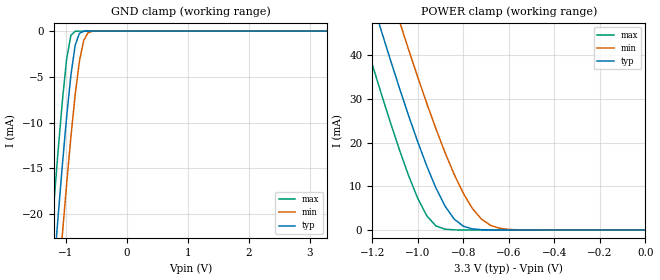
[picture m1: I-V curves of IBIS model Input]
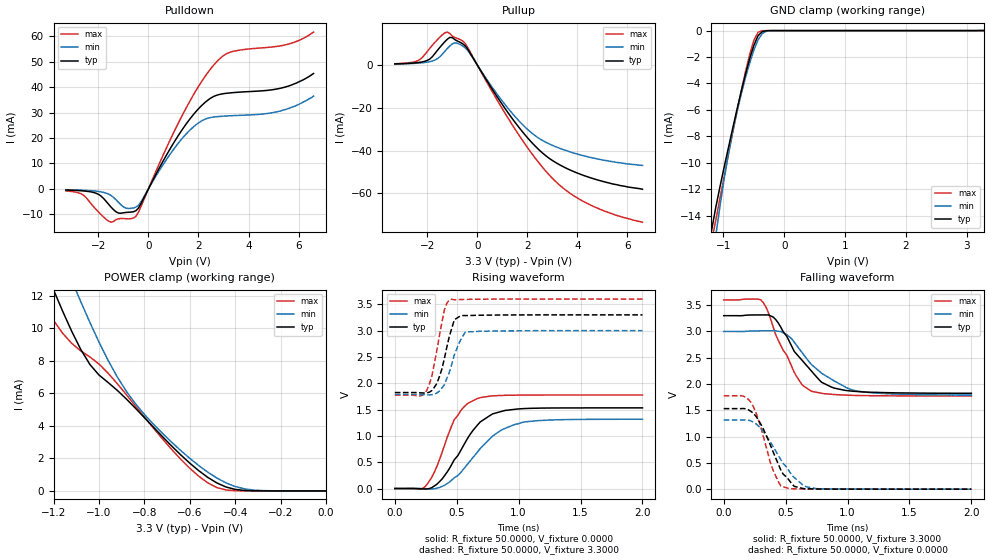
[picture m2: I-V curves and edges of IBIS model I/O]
| IBIS file w9825g6kh_0~70c.ibs
| Winbond W9825G6KH 16M*16 256M bits SDRAM IBIS model
| This model applicable for -5/-6/-6L/-75/75L grades
| Part Number   Organization   Package   VDD/VDDQ   TOPR
| W9825G6KH-5   16M*16   TSOP II 54-Pin   3.3V +/-0.3V   0~70C
| W9825G6KH-6   16M*16   TSOP II 54-Pin   3.3V +/-0.3V   0~70C
| W9825G6KH-6L   16M*16   TSOP II 54-Pin   3.3V +/-0.3V   0~70C
| W9825G6KH-75   16M*16   TSOP II 54-Pin   3.3V +/-0.3V   0~70C
| W9825G6KH75L   16M*16   TSOP II 54-Pin   3.3V +/-0.3V   0~70C
| TOPR: Operating Temperature
[IBIS ver]   3.2
[File name]  w9825g6kh_0~70c.ibs
[File Rev]   0.1
[Date]   Jul. 22, 2014
[Source]   Simulation of a silicon level SPICE model
[Notes]   IBIS Characteristics for I/O Buffer
   IBIS Model Revision History:
   Rev 0.1: Jul. 22, 2014
   - IBIS model file initial creation
[Disclaimer] This model software code and all related notes or documentation
             (collectively "Software") is provided "AS IS" without warranty of
             any kind. You bear the risk of using it.
             Winbond Electronics Corp.("WINBOND") hereunder
             DISCLAIMS ALL WARRANTIES EXPRESS OR IMPLIED, INCLUDING BUT NOT
             LIMITED TO,NONINFRINGEMENT OF THIRD PARTY RIGHTS, AND ANY IMPLIED
             WARRANTIES OF MERCHANTABILITY OR FITNESS FOR ANY PARTICULAR
             PURPOSE.WINBOND DOES NOT WARRANT THAT THE OPERATION OF THE
             SOFTWARE WILL BE UNINTERRUPTED OR ERROR-FREE. FURTHERMORE,
             WINBOND DOES NOT MAKE ANY WARRANTIES REGARDING THE USE OR
             THE RESULTS OF THE USE OF THE SOFTWARE IN TERMS OF ITS
             CORRECTNESS,ACCURACY, RELIABILITY, OR OTHERWISE. IN NO EVENT SHALL
             WINBOND, ITS SUBSIDIARY COMPANIES OR THEIR SUPPLIERS BE LIABLE
             FOR ANY DIRECT, INDIRECT, CONSEQUENTIAL, INCIDENTAL, OR SPECIAL
             DAMAGES (INCLUDING, WITHOUT LIMITATION, DAMAGES FOR LOSS OF
             PROFITS,BUSINESS INTERRUPTION, OR LOSS OF INFORMATION) ARISING OUT
             OF YOUR USE OF OR INABILITY TO USE THE SOFTWARE, EVEN IF WINBOND
             HAS BEEN ADVISED OF THE POSSIBILITY OF SUCH DAMAGES.
[Copyright]  Copyright (C) 2014 Winbond Electronics Corp. All rights reserved
|   Component W9825G6KH
[Component]   W9825G6KH
[Manufacturer] Winbond Electronics Corp.
| All pins excluding NC, POWER and GND (R[Ohm], L[H], C[F])
[Package]   | TSOP II 54-Pin
| variable   typ   min   max
R_pkg   629.144m   423.110m   929.160m
L_pkg   6.520n   4.165n   9.460n
C_pkg   0.932p   0.493p   1.491p
[Pin]  signal_name   model_name   R_pin   L_pin   C_pin
1   VDD   POWER   NA   NA   NA
2   DQ0   I/O   929.160m   9.460n   1.476p
3   VDDQ   POWER   NA   NA   NA
4   DQ1   I/O   814.680m   8.450n   1.271p
5   DQ2   I/O   750.840m   7.906n   1.159p
6   VSSQ   GND   NA   NA   NA
7   DQ3   I/O   617.360m   6.805n   0.901p
8   DQ4   I/O   540.680m   6.142n   0.765p
9   VDDQ   POWER   NA   NA   NA
10   DQ5   I/O   492.610m   5.365n   0.642p
11   DQ6   I/O   471.220m   5.051n   0.614p
12   VSSQ   GND   NA   NA   NA
13   DQ7   I/O   445.520m   4.435n   0.598p
14   VDD   POWER   NA   NA   NA
15   LDQM   Input   443.000m   4.165n   0.607p
16   /WE   Input   445.970m   4.501n   0.596p
17   /CAS   Input   454.700m   4.761n   0.603p
18   /RAS   Input   465.610m   5.049n   0.606p
19   /CS   Input   469.910m   5.368n   0.652p
20   BS0   Input   529.490m   5.991n   0.735p
21   BS1   Input   615.100m   6.662n   0.899p
22   A10/AP   Input   687.070m   7.224n   1.058p
23   A0   Input   748.680m   7.777n   1.162p
24   A1   Input   811.970m   8.346n   1.269p
25   A2   Input   872.720m   8.868n   1.395p
26   A3   Input   925.530m   9.325n   1.478p
27   VDD   POWER   NA   NA   NA
28   VSS   GND   NA   NA   NA
29   A4   Input   916.240m   8.252n   1.447p
30   A5   Input   923.200m   8.310n   1.491p
31   A6   Input   853.010m   8.061n   1.346p
32   A7   Input   770.700m   7.654n   1.223p
33   A8   Input   690.820m   7.167n   1.065p
34   A9   Input   593.070m   6.518n   0.898p
35   A11   Input   514.890m   5.841n   0.749p
36   A12   Input   454.170m   5.184n   0.679p
37   CKE   Input   444.820m   4.886n   0.630p
38   CLK   Input   431.850m   4.604n   0.583p
39   UDQM   Input   423.110m   4.255n   0.493p
40   NC   NC   NA   NA   NA
41   VSS   GND   NA   NA   NA
42   DQ8   I/O   442.840m   4.478n   0.561p
43   VDDQ   POWER   NA   NA   NA
44   DQ9   I/O   445.340m   5.021n   0.561p
45   DQ10   I/O   470.040m   5.335n   0.596p
46   VSSQ   GND   NA   NA   NA
47   DQ11   I/O   519.910m   6.097n   0.746p
48   DQ12   I/O   588.090m   6.703n   0.876p
49   VDDQ   POWER   NA   NA   NA
50   DQ13   I/O   771.860m   7.808n   1.192p
51   DQ14   I/O   841.280m   8.164n   1.317p
52   VSSQ   GND   NA   NA   NA
53   DQ15   I/O   913.570m   8.305n   1.417p
54   VSS   GND   NA   NA   NA
| Models and submodels in the file (2): Input (Input), I/O (I/O)
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|   Model Input
[Model]   Input
Model_type Input
Vinl =   0.8000V
Vinh =   2.0000V
| variable   typ   min   max
C_comp   1.3750pF   0.9950pF   1.7450pF
| Junction Temperature (Ambient temperature is typ 25C, min 70C, max 0C)
| variable   typ   min   max
[Temperature Range]   40.0000   85.0000   0.0
[Voltage Range]   3.3000V   3.0000V   3.6000V
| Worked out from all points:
|   GND clamp passes 1 mA (typ) near -0.82 V on its own axis
|   POWER clamp passes 1 mA (typ) near -0.80 V on its own axis
[GND_clamp]
|Voltage   I(typ)   I(min)   I(max)
-3.3V     -224.8mA   -231.1mA   -219.2mA
-1.27V    -32.26mA   -39.98mA   -25.08mA
-1.2V     -26.19mA   -33.92mA   -18.98mA
-1.13V    -20.29mA   -28mA      -13.11mA
-1.06V    -14.64mA   -22.25mA   -7.65mA
-990mV    -9.374mA   -16.73mA   -3.054mA
-920mV    -4.804mA   -11.57mA   -462.5uA
-850mV    -1.554mA   -6.966mA   -21.25uA
-780mV    -236.7uA   -3.276mA   -714.5nA
-710mV    -21.67uA   -1.013mA   -23.22nA
-570mV    -136.2nA   -28.44uA   -33.16pA
3.28V     3.24pA     13.01nA    2.64pA
[POWER_clamp]
|Voltage   I(typ)   I(min)   I(max)
-3.28V    445.6mA    458.3mA    434.6mA
-1.28V    66.28mA    81.7mA     51.94mA
-1.24V    59.29mA    74.73mA    44.89mA
-1.16V    45.59mA    61.04mA    31.18mA
-1.08V    32.44mA    47.74mA    18.3mA
-1.04V    26.17mA    41.28mA    12.43mA
-1V       20.19mA    35.01mA    7.248mA
-920mV    9.608mA    23.15mA    925uA
-840mV    2.494mA    12.74mA    26.33uA
-720mV    61.77uA    2.472mA    75.79nA
-600mV    812.7nA    131.7uA    216.5pA
0V        3.3pA      4.892pA    3.6pA
|   Model I/O
[Model]   I/O
Model_type I/O
Polarity   Non-Inverting
Enable   Active-High
Vinl =   0.8000V
Vinh =   2.0000V
Vmeas =   1.4000V
Cref =   30.0000pF
Rref =   50.0000
| variable   typ   min   max
C_comp   2.9950pF   2.4950pF   3.4950pF
| Junction Temperature (Ambient temperature is typ 25C, min 70C, max 0C)
| variable   typ   min   max
[Temperature Range]   40.0000   85.0000   0.0
[Voltage Range]   3.3000V   3.0000V   3.6000V
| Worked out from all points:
|   slope of the pulldown table from 0 to 0.495 V, typ, clamps not added: 53.2 ohm
|   slope of the pullup table from 0 to 0.495 V, typ, clamps not added: 52.4 ohm
|   GND clamp passes 1 mA (typ) near -0.49 V on its own axis
|   POWER clamp passes 1 mA (typ) near -0.54 V on its own axis
|   rising waveform, R_fixture 50.0000, V_fixture 0.0000: 20-80 % time 255ps typ, 308ps min, 190ps max; typ from 0 V to 1.53 V
|   rising waveform, R_fixture 50.0000, V_fixture 3.3000: 20-80 % time 96.1ps typ, 109ps min, 87.9ps max; typ from 1.82 V to 3.3 V
|   falling waveform, R_fixture 50.0000, V_fixture 3.3000: 20-80 % time 278ps typ, 332ps min, 212ps max; typ from 3.3 V to 1.82 V
|   falling waveform, R_fixture 50.0000, V_fixture 0.0000: 20-80 % time 173ps typ, 218ps min, 134ps max; typ from 1.53 V to 0 V
[Pulldown]
|Voltage   I(typ)   I(min)   I(max)
-3.3V     -490uA     -360uA     -830uA
-2.6V     -850uA     -570uA     -2.51mA
-2.1V     -1.73mA    -920uA     -8.07mA
-1.5V     -7.16mA    -2.61mA    -13.15mA
-600mV    -9.046mA   -7.534mA   -11.51mA
-400mV    -7.599mA   -6.494mA   -9.245mA
1.5V      25.41mA    21.52mA    31.7mA
2.2V      33.47mA    27.12mA    43.34mA
2.8V      37.05mA    28.45mA    50.75mA
3.4V      37.88mA    28.82mA    54.14mA
5.1V      39.24mA    30.24mA    56.02mA
6.6V      45.39mA    36.5mA     61.7mA
[Pullup]
|Voltage   I(typ)   I(min)   I(max)
-3.3V     560uA      500uA      650uA
-2.3V     1.3mA      990uA      2.61mA
-1.9V     2.86mA     1.62mA     7.88mA
-1.3V     10.95mA    6.44mA     15.1mA
-1.1V     12.97mA    8.97mA     14.77mA
-900mV    11.92mA    10.42mA    12.91mA
-600mV    10.09mA    9.052mA    11.4mA
1.6V      -28.17mA   -25.29mA   -31.62mA
2.3V      -37.71mA   -32.9mA    -43.27mA
3V        -44.59mA   -37.5mA    -52.91mA
4.5V      -52.58mA   -43.1mA    -65.28mA
6.6V      -58.04mA   -46.9mA    -73.43mA
[GND_clamp]
|Voltage   I(typ)   I(min)   I(max)
-3.3V     -94.76mA   -98.4mA    -91.51mA
-1.2V     -15.22mA   -17.95mA   -16.07mA
-1.13V    -13.45mA   -15.6mA    -14.42mA
-1.06V    -11.86mA   -13.35mA   -12.74mA
-920mV    -8.877mA   -9.354mA   -9.398mA
-780mV    -6.005mA   -6.183mA   -6.156mA
-570mV    -2.137mA   -2.466mA   -1.821mA
-500mV    -1.111mA   -1.474mA   -730uA
-430mV    -378.2uA   -689.5uA   -121.8uA
-360mV    -66.19uA   -213.4uA   -8.669uA
-220mV    -942.7nA   -7.562uA   -49.42nA
3.28V     1.498nA    21.13uA    1.052nA
[POWER_clamp]
|Voltage   I(typ)   I(min)   I(max)
-3.28V    92.62mA    95.91mA    89.68mA
-1.28V    15.15mA    18.58mA    12.63mA
-1.2V     12.38mA    15.72mA    10.5mA
-1.12V    9.83mA     12.97mA    9.088mA
-1.08V    8.709mA    11.65mA    8.618mA
-1.04V    7.788mA    10.38mA    8.249mA
-920mV    6.201mA    7.037mA    6.617mA
-840mV    5.104mA    5.382mA    5.249mA
-560mV    1.242mA    1.558mA    900.8uA
-480mV    487.9uA    790.1uA    203.3uA
-360mV    31.46uA    129.5uA    2.704uA
0V        1.728nA    43.61nA    1.077nA
[Ramp]
| variable   typ   min   max
dV/dt_r  0.9192/0.2446n   0.7896/0.3077n   1.0656/0.1799n
dV/dt_f  0.8856/0.2679n   0.7266/0.3318n   1.0968/0.2020n
R_load =   50.0000
[Rising Waveform]
R_fixture=   50.0000
V_fixture=   0.0000
V_fixture_min=   0.0000
V_fixture_max=   0.0000
C_fixture=   0.0000F
|time   V(typ)   V(min)   V(max)
0s        0V         1.576uV    0V
240ps     -9.162mV   -3.83mV    24.74mV
300ps     18.81mV    -6.827mV   221.2mV
360ps     128.2mV    18.36mV    544mV
480ps     544.7mV    203.8mV    1.309V
590ps     962.2mV    470.4mV    1.619V
670ps     1.212V     700.9mV    1.712V
850ps     1.457V     1.094V     1.767V
1.03ns    1.517V     1.256V     1.775V
2ns       1.532V     1.316V     1.776V
[Rising Waveform]
R_fixture=   50.0000
V_fixture=   3.3000
V_fixture_min=   3.0000
V_fixture_max=   3.6000
C_fixture=   0.0000F
|time   V(typ)   V(min)   V(max)
0s        1.823V     1.786V     1.772V
200ps     1.819V     1.786V     1.759V
260ps     1.817V     1.78V      1.875V
300ps     1.863V     1.784V     2.145V
340ps     1.998V     1.815V     2.632V
400ps     2.466V     1.973V     3.39V
440ps     2.887V     2.206V     3.584V
480ps     3.202V     2.536V     3.585V
570ps     3.285V     2.976V     3.592V
2ns       3.299V     2.999V     3.599V
[Falling Waveform]
R_fixture=   50.0000
V_fixture=   3.3000
V_fixture_min=   3.0000
V_fixture_max=   3.6000
C_fixture=   0.0000F
|time   V(typ)   V(min)   V(max)
0s        3.3V       3V         3.6V
300ps     3.314V     3.012V     3.6V
340ps     3.314V     3.012V     3.471V
400ps     3.273V     3.013V     3.082V
510ps     2.906V     2.937V     2.546V
630ps     2.459V     2.607V     1.994V
710ps     2.243V     2.368V     1.861V
870ps     1.942V     2.091V     1.805V
1.07ns    1.859V     1.869V     1.782V
2ns       1.824V     1.789V     1.772V
[Falling Waveform]
R_fixture=   50.0000
V_fixture=   0.0000
V_fixture_min=   0.0000
V_fixture_max=   0.0000
C_fixture=   0.0000F
|time   V(typ)   V(min)   V(max)
0s        1.532V     1.316V     1.776V
160ps     1.534V     1.317V     1.768V
220ps     1.48V      1.297V     1.65V
280ps     1.319V     1.203V     1.324V
400ps     704.2mV    806.3mV    354.3mV
480ps     286.4mV    488.6mV    44.37mV
570ps     53.04mV    221.4mV    6.354mV
650ps     8.465mV    55.79mV    3.125mV
750ps     3.561mV    9.121mV    1.764mV
2ns       28.35uV    79.65uV    3.338uV
